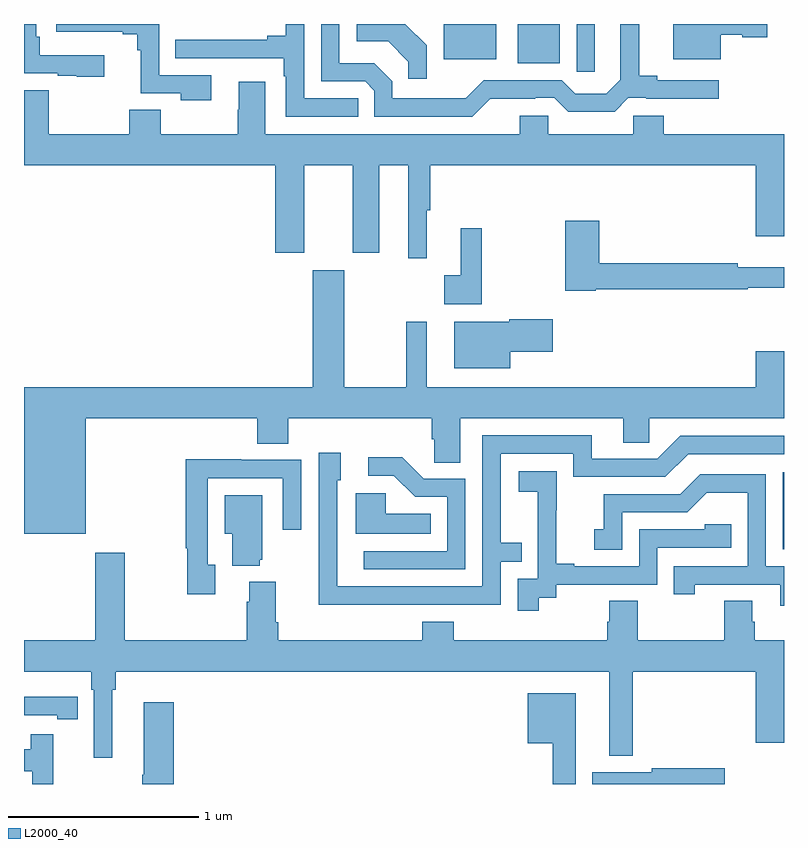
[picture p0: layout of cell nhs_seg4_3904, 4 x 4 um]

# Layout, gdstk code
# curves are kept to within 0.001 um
import gdstk
lib = gdstk.Library(unit=1e-6, precision=1e-09)
def R(c, l, rs):  # rectangles x0, y0, x1, y1
    for r in rs: c.add(gdstk.rectangle(r[:2], r[2:], *l))
def P(c, l, *ps):  # polygons
    for p in ps: c.add(gdstk.Polygon(p, *l))
L2000_40 = (2000, 40)

nhs_seg4_3904 = lib.new_cell('nhs_seg4_3904')
R(nhs_seg4_3904, L2000_40, [(320.994,792.135,321,792.541), (319.908,794.649,320.005,794.9), (319.598,794.693,319.819,794.9), (319.208,794.714,319.486,794.9)])
P(nhs_seg4_3904, L2000_40, [(318.758,794.508),(318.474,794.508),(318.474,794.9),(318.377,794.9),(318.377,794.837),(318.281,794.837),(318.281,794.817),(317.797,794.817),(317.797,794.721),(318.366,794.721),(318.366,794.624),(318.378,794.624),(318.378,794.412),(318.758,794.412)],
  [(317.422,794.736),(317.084,794.736),(317.084,794.833),(317.064,794.833),(317.064,794.9),(317,794.9),(317,794.64),(317.177,794.64),(317.177,794.628),(317.277,794.628),(317.277,794.623),(317.422,794.623)],
  [(319.454,794.507),(319.691,794.507),(319.691,794.511),(319.791,794.511),(319.864,794.438),(320.108,794.438),(320.181,794.511),(320.275,794.511),(320.275,794.507),(320.656,794.507),(320.656,794.604),(320.332,794.604),(320.332,794.627),(320.237,794.627),(320.237,794.9),(320.138,794.9),(320.138,794.606),(320.065,794.533),(319.901,794.533),(319.83,794.604),(319.419,794.604),(319.325,794.51),(319.22,794.51),(319.22,794.508),(318.939,794.508),(318.939,794.598),(318.843,794.694),(318.66,794.694),(318.66,794.9),(318.564,794.9),(318.564,794.598),(318.795,794.598),(318.843,794.55),(318.843,794.412),(319.359,794.412)],
  [(319.119,794.788),(319.007,794.9),(318.75,794.9),(318.75,794.808),(318.917,794.808),(319.023,794.702),(319.023,794.611),(319.119,794.611)],
  [(320.668,794.843),(320.781,794.843),(320.781,794.831),(320.911,794.831),(320.911,794.9),(320.417,794.9),(320.417,794.714),(320.668,794.714)],
  [(317.986,794.631),(317.712,794.631),(317.712,794.9),(317.169,794.9),(317.169,794.859),(317.519,794.859),(317.519,794.847),(317.596,794.847),(317.596,794.762),(317.615,794.762),(317.615,794.535),(317.825,794.535),(317.825,794.498),(317.986,794.498)],
  [(319.121,793.92),(319.139,793.92),(319.139,794.156),(320.852,794.156),(320.852,793.782),(321,793.782),(321,794.32),(320.366,794.32),(320.366,794.418),(320.207,794.418),(320.207,794.32),(319.76,794.32),(319.76,794.418),(319.61,794.418),(319.61,794.32),(318.271,794.32),(318.271,794.596),(318.131,794.596),(318.131,794.45),(318.124,794.45),(318.124,794.32),(317.719,794.32),(317.719,794.45),(317.555,794.45),(317.555,794.32),(317.131,794.32),(317.131,794.551),(317,794.551),(317,794.156),(318.323,794.156),(318.323,793.695),(318.475,793.695),(318.475,794.156),(318.731,794.156),(318.731,793.695),(318.871,793.695),(318.871,794.156),(319.022,794.156),(319.022,793.668),(319.121,793.668)],
  [(320.01,793.504),(320.81,793.504),(320.81,793.512),(321,793.512),(321,793.621),(320.756,793.621),(320.756,793.64),(320.027,793.64),(320.027,793.864),(319.849,793.864),(319.849,793.496),(320.01,793.496)],
  [(319.408,793.825),(319.298,793.825),(319.298,793.577),(319.212,793.577),(319.212,793.424),(319.408,793.424)],
  [(317.326,792.824),(318.227,792.824),(318.227,792.691),(318.392,792.691),(318.392,792.824),(319.145,792.824),(319.145,792.715),(319.158,792.715),(319.158,792.592),(319.297,792.592),(319.297,792.824),(320.153,792.824),(320.153,792.697),(320.292,792.697),(320.292,792.824),(321,792.824),(321,793.177),(320.852,793.177),(320.852,792.988),(319.12,792.988),(319.12,793.333),(319.011,793.333),(319.011,792.988),(318.685,792.988),(318.685,793.603),(318.521,793.603),(318.521,792.988),(317,792.988),(317,792.218),(317.326,792.218)],
  [(319.558,793.175),(319.783,793.175),(319.783,793.346),(319.554,793.346),(319.554,793.333),(319.265,793.333),(319.265,793.088),(319.558,793.088)],
  [(319.013,791.844),(319.509,791.844),(319.509,792.069),(319.619,792.069),(319.619,792.17),(319.509,792.17),(319.509,792.639),(319.89,792.639),(319.89,792.516),(320.376,792.516),(320.496,792.636),(321,792.636),(321,792.732),(320.454,792.732),(320.334,792.612),(319.987,792.612),(319.987,792.735),(319.413,792.735),(319.413,791.94),(318.649,791.94),(318.648,792.498),(318.667,792.498),(318.667,792.643),(318.552,792.643),(318.552,792.149),(318.55,792.149),(318.55,791.843)],
  [(319.323,792.507),(319.104,792.507),(318.991,792.62),(318.813,792.62),(318.813,792.522),(318.947,792.522),(319.058,792.411),(319.227,792.411),(319.227,792.126),(318.789,792.126),(318.789,792.03),(319.323,792.03)],
  [(318.007,792.054),(317.967,792.054),(317.967,792.51),(318.363,792.51),(318.363,792.237),(318.459,792.237),(318.459,792.606),(318.143,792.606),(318.143,792.608),(317.851,792.608),(317.851,792.142),(317.859,792.142),(317.859,791.898),(318.007,791.898)],
  [(319.708,791.881),(319.8,791.881),(319.8,791.949),(320.334,791.949),(320.334,792.144),(320.723,792.144),(320.723,792.267),(320.583,792.267),(320.583,792.24),(320.238,792.24),(320.238,792.045),(319.897,792.045),(319.897,792.058),(319.802,792.058),(319.802,792.341),(319.803,792.341),(319.803,792.547),(319.605,792.547),(319.605,792.437),(319.703,792.437),(319.703,792.209),(319.704,792.209),(319.704,791.979),(319.599,791.979),(319.599,791.811),(319.708,791.811)],
  [(321,792.045),(320.904,792.045),(320.904,792.531),(320.558,792.531),(320.453,792.426),(320.05,792.426),(320.05,792.241),(320.001,792.241),(320.001,792.132),(320.148,792.132),(320.148,792.33),(320.49,792.33),(320.594,792.434),(320.808,792.434),(320.808,792.045),(320.419,792.045),(320.419,791.898),(320.53,791.898),(320.53,791.949),(320.981,791.949),(320.981,791.838),(321,791.838)],
  [(319.142,792.322),(318.903,792.322),(318.903,792.43),(318.746,792.43),(318.746,792.218),(319.142,792.218)],
  [(318.242,792.081),(318.253,792.081),(318.253,792.421),(318.056,792.421),(318.056,792.218),(318.095,792.218),(318.095,792.05),(318.242,792.05)],
  [(317.464,791.396),(317.483,791.396),(317.483,791.492),(320.081,791.492),(320.081,791.048),(320.203,791.048),(320.203,791.492),(320.852,791.492),(320.852,791.118),(321,791.118),(321,791.656),(320.846,791.656),(320.846,791.754),(320.833,791.754),(320.833,791.864),(320.686,791.864),(320.686,791.656),(320.229,791.656),(320.229,791.864),(320.081,791.864),(320.081,791.754),(320.069,791.754),(320.069,791.656),(319.262,791.656),(319.262,791.755),(319.097,791.755),(319.097,791.656),(318.338,791.656),(318.338,791.752),(318.325,791.752),(318.325,791.965),(318.185,791.965),(318.185,791.858),(318.173,791.858),(318.173,791.656),(317.529,791.656),(317.529,792.118),(317.374,792.118),(317.374,791.656),(317,791.656),(317,791.492),(317.354,791.492),(317.354,791.396),(317.367,791.396),(317.367,791.037),(317.464,791.037)],
  [(319.903,791.377),(319.652,791.377),(319.652,791.114),(319.782,791.114),(319.782,790.9),(319.903,790.9)],
  [(317.282,791.358),(317.174,791.358),(317.174,791.359),(317,791.359),(317,791.262),(317.174,791.262),(317.174,791.242),(317.282,791.242)],
  [(317.789,791.329),(317.63,791.329),(317.63,790.949),(317.623,790.949),(317.623,790.9),(317.789,790.9)],
  [(317.153,791.161),(317.035,791.161),(317.035,791.082),(317,791.082),(317,790.966),(317.043,790.966),(317.043,790.9),(317.153,790.9)],
  [(320.689,790.982),(320.304,790.982),(320.304,790.963),(319.991,790.963),(319.991,790.9),(320.689,790.9)])

lib.write_gds('nhs_seg4_3904.gds')
